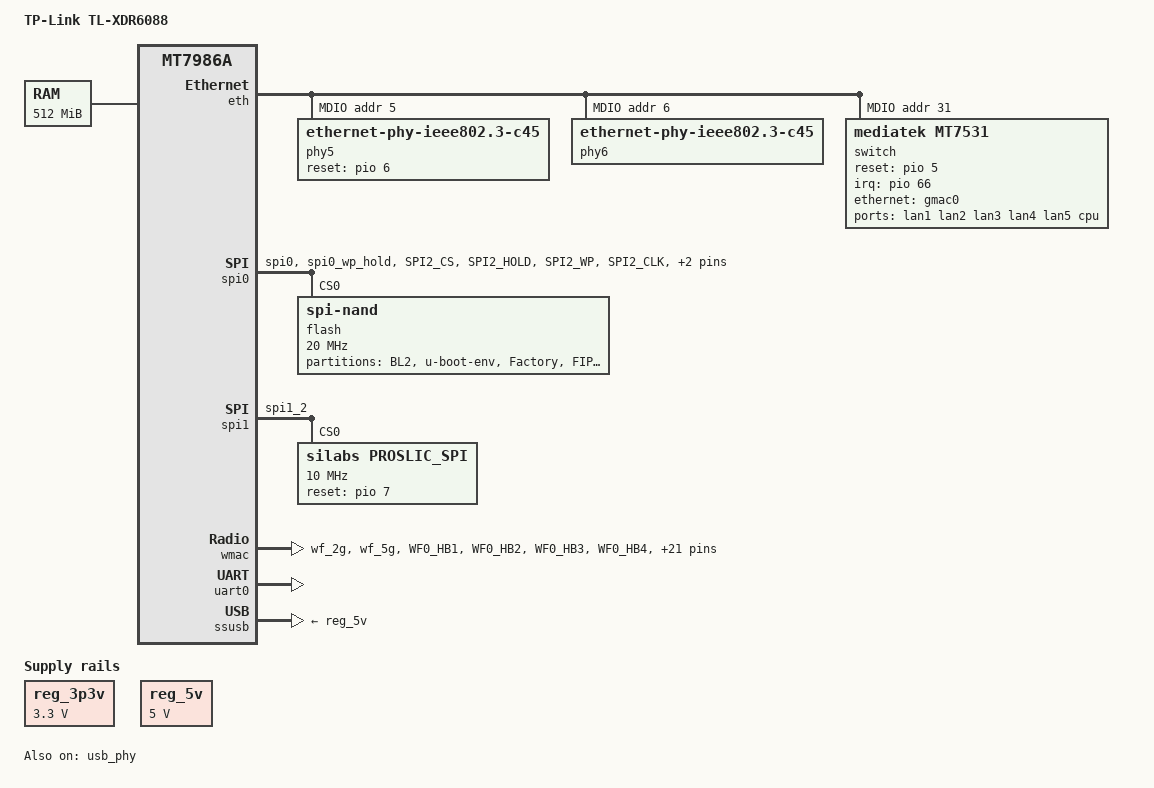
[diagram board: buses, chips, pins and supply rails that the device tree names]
// SPDX-License-Identifier: (GPL-2.0 OR MIT)

/dts-v1/;
#include <dt-bindings/input/input.h>
#include <dt-bindings/gpio/gpio.h>

#include "mt7986a.dtsi"

/ {
	model = "TP-Link TL-XDR6088";
	compatible = "tplink,tl-xdr6088", "mediatek,mt7986a";

	aliases {
		serial0 = &uart0;
	};

	chosen {
		stdout-path = "serial0:115200n8";
	};

	memory {
		reg = <0 0x40000000 0 0x20000000>;
	};

	reg_3p3v: regulator-3p3v {
		compatible = "regulator-fixed";
		regulator-name = "fixed-3.3V";
		regulator-min-microvolt = <3300000>;
		regulator-max-microvolt = <3300000>;
		regulator-boot-on;
		regulator-always-on;
	};

	reg_5v: regulator-5v {
		compatible = "regulator-fixed";
		regulator-name = "fixed-5V";
		regulator-min-microvolt = <5000000>;
		regulator-max-microvolt = <5000000>;
		regulator-boot-on;
		regulator-always-on;
	};
};

&eth {
	status = "okay";

	gmac0: mac@0 {
		compatible = "mediatek,eth-mac";
		reg = <0>;
		phy-mode = "2500base-x";

		nvmem-cells = <&macaddr_factory_4>;
		nvmem-cell-names = "mac-address";
		mac-address-increment = <(-1)>;

		fixed-link {
			speed = <2500>;
			full-duplex;
			pause;
		};
	};

	gmac1: mac@1 {
		compatible = "mediatek,eth-mac";
		reg = <1>;
		phy-mode = "2500base-x";
		phy-handle = <&phy6>;

		nvmem-cells = <&macaddr_factory_4>;
		nvmem-cell-names = "mac-address";
		mac-address-increment = <(-2)>;
	};

	mdio: mdio-bus {
		#address-cells = <1>;
		#size-cells = <0>;
	};
};

&mdio {
	reset-gpios = <&pio 6 GPIO_ACTIVE_LOW>;
	reset-delay-us = <600>;

	phy5: phy@5 {
		compatible = "ethernet-phy-ieee802.3-c45";
		reg = <5>;
		reset-gpios = <&pio 6 GPIO_ACTIVE_HIGH>;
		reset-deassert-us = <20000>;
	};

	phy6: phy@6 {
		compatible = "ethernet-phy-ieee802.3-c45";
                reg = <6>;
	};

	switch: switch@0 {
		compatible = "mediatek,mt7531";
		reg = <31>;
		reset-gpios = <&pio 5 GPIO_ACTIVE_HIGH>;
		interrupt-controller;
		#interrupt-cells = <1>;
		interrupt-parent = <&pio>;
		interrupts = <66 IRQ_TYPE_LEVEL_HIGH>;
	};
};

&pio {
	spi_flash_pins: spi-flash-pins-33-to-38 {
		mux {
			function = "spi";
			groups = "spi0", "spi0_wp_hold";
		};
		conf-pu {
			pins = "SPI2_CS", "SPI2_HOLD", "SPI2_WP";
			drive-strength = <8>;
			mediatek,pull-up-adv = <0>; /* bias-disable */
		};
		conf-pd {
			pins = "SPI2_CLK", "SPI2_MOSI", "SPI2_MISO";
			drive-strength = <8>;
			mediatek,pull-down-adv = <0>; /* bias-disable */
		};
	};

	spic_pins_g2: spic-pins-29-to-32 {
		mux {
			function = "spi";
			groups = "spi1_2";
		};
	};

	wf_2g_5g_pins: wf_2g_5g-pins {
		mux {
			function = "wifi";
			groups = "wf_2g", "wf_5g";
		};
		conf {
			pins = "WF0_HB1", "WF0_HB2", "WF0_HB3", "WF0_HB4",
			       "WF0_HB0", "WF0_HB0_B", "WF0_HB5", "WF0_HB6",
			       "WF0_HB7", "WF0_HB8", "WF0_HB9", "WF0_HB10",
			       "WF0_TOP_CLK", "WF0_TOP_DATA", "WF1_HB1",
			       "WF1_HB2", "WF1_HB3", "WF1_HB4", "WF1_HB0",
			       "WF1_HB5", "WF1_HB6", "WF1_HB7", "WF1_HB8",
			       "WF1_TOP_CLK", "WF1_TOP_DATA";
			drive-strength = <4>;
		};
	};
};

&spi0 {
	pinctrl-names = "default";
	pinctrl-0 = <&spi_flash_pins>;
	cs-gpios = <0>, <0>;
	status = "okay";

	flash@0 {
		compatible = "spi-nand";
		#address-cells = <1>;
		#size-cells = <1>;
		reg = <0>;

		mediatek,nmbm;
		mediatek,bmt-max-ratio = <1>;
		mediatek,bmt-max-reserved-blocks = <64>;

		spi-max-frequency = <20000000>;
		spi-tx-buswidth = <4>;
		spi-rx-buswidth = <4>;

		partitions {
			compatible = "fixed-partitions";
			#address-cells = <1>;
			#size-cells = <1>;

			partition@0 {
				label = "BL2";
				reg = <0x00000 0x0100000>;
				read-only;
			};

			partition@100000 {
				label = "u-boot-env";
				reg = <0x0100000 0x0080000>;
			};

			factory: partition@180000 {
				label = "Factory";
				reg = <0x180000 0x0200000>;
				read-only;

				compatible = "nvmem-cells";
				#address-cells = <1>;
				#size-cells = <1>;

				macaddr_factory_4: macaddr@4 {
					reg = <0x4 0x6>;
				};
			};

			partition@380000 {
				label = "FIP";
				reg = <0x380000 0x0200000>;
			};

			partition@580000 {
				label = "ubi";
				reg = <0x580000 0x4000000>;
			};
		};
	};
};

&spi1 {
	pinctrl-names = "default";
	pinctrl-0 = <&spic_pins_g2>;
	status = "okay";

	proslic_spi: proslic_spi@0 {
		compatible = "silabs,proslic_spi";
		reg = <0>;
		spi-max-frequency = <10000000>;
		spi-cpha = <1>;
		spi-cpol = <1>;
		channel_count = <1>;
		debug_level = <4>;       /* 1 = TRC, 2 = DBG, 4 = ERR */
		reset_gpio = <&pio 7 0>;
		ig,enable-spi = <1>;     /* 1: Enable, 0: Disable */
	};
};

&switch {
	ports {
		#address-cells = <1>;
		#size-cells = <0>;

		port@1 {
			reg = <1>;
			label = "lan1";
		};

		port@2 {
			reg = <2>;
			label = "lan2";
		};

		port@3 {
			reg = <3>;
			label = "lan3";
		};

		port@4 {
			reg = <4>;
			label = "lan4";
		};

		port@5 {
			reg = <5>;
			label = "lan5";
			phy-mode = "2500base-x";
			phy-handle = <&phy5>;
		};

		port@6 {
			reg = <6>;
			label = "cpu";
			ethernet = <&gmac0>;
			phy-mode = "2500base-x";

			fixed-link {
				speed = <2500>;
				full-duplex;
				pause;
			};
		};
	};
};

&wmac {
	status = "okay";
	pinctrl-names = "default";
	pinctrl-0 = <&wf_2g_5g_pins>;

	mediatek,mtd-eeprom = <&factory 0x0>;
};

&uart0 {
	status = "okay";
};

&ssusb {
	vusb33-supply = <&reg_3p3v>;
	vbus-supply = <&reg_5v>;
	status = "okay";
};

&usb_phy {
	status = "okay";
};
